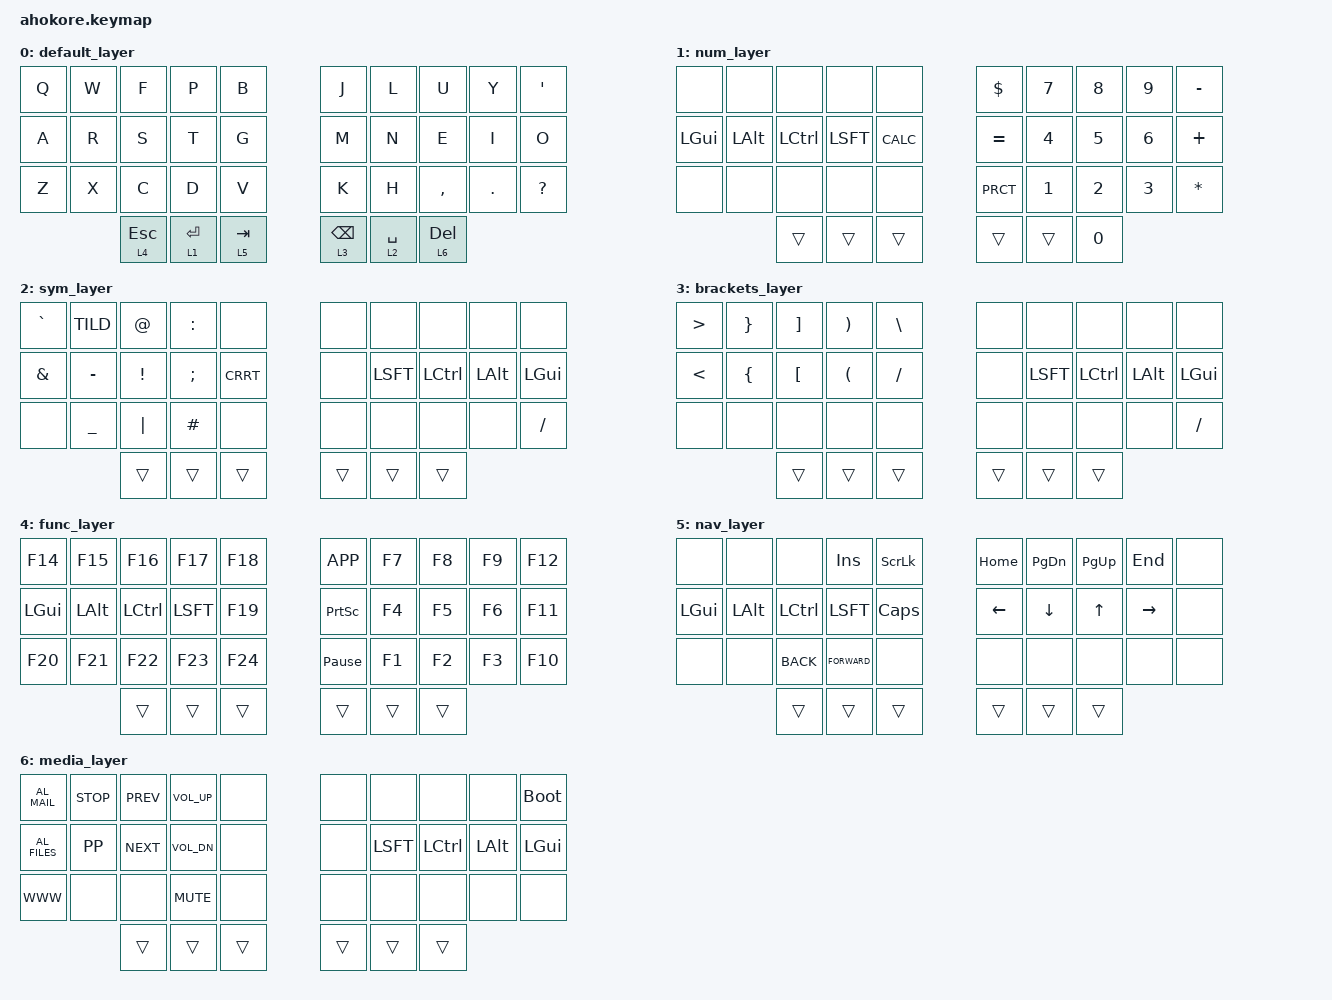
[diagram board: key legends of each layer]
/*
 * Copyright (c) 2020 The ZMK Contributors
 *
 * SPDX-License-Identifier: MIT
 */

#include <behaviors.dtsi>
#include <dt-bindings/zmk/keys.h>
#include <dt-bindings/zmk/bt.h>

/ {

/*
behaviors {
      hm: homerow_mods {
        compatible = "zmk,behavior-hold-tap";
        label = "HOMEROW_MODS";
        #binding-cells = <2>;
        tapping_term_ms = <300>;
        flavor = "tap-preferred";
        bindings = <&kp>, <&kp>;
    };

    combos {
    compatible = "zmk,combos";
    combo_del {
        timeout-ms = <50>;
        key-positions = <18 19>;
        bindings = <&kp DEL>;
        layers = <1>;
    };
    combo_bspc {
        timeout-ms = <50>;
        key-positions = <8 9>;
        bindings = <&kp BKSP>;
        layers = <0 1>;
    };
    combo_tab {
        timeout-ms = <50>;
        key-positions = <0 1>;
        bindings = <&kp TAB>;
        layers = <0>;

    };
    combo_esc {
        timeout-ms = <50>;
        key-positions = <1 2>;
        bindings = <&kp ESC>;
        layers = <0>;

    };
};
};
*/
/*
 * 1 - Numbers
 * 2 - Symbols
 * 3 - Brackets
 * 4 - Function
 * 5 - Nav
 * 6 - Media
*/
        keymap {
                compatible = "zmk,keymap";

                default_layer {
/* Colemak Mod-DH
 * ,-----------------------------------------------------------------------.
 * |   Q  |   W  |   F  |   P  |   B  | |   J  |   L  |   U  |   Y  |   '  |
 * |------+------+------+------+------+-+------+------+------+------+------|
 * |   A  |   R  |   S  |   T  |   G  | |   M  |   N  |   E  |   I  |   O  |
 * |------+------+------+------+------+-+------+------+------+------+------|
 * |   Z  |   X  |   C  |   D  |   V  | |   K  |   H  |   ,  |   .  |   ?  |
 * '-------------+------+------+------+-+------+------+------+-------------'
 *               | Esc  |Enter |Tab   | |Backsp|Space | Del  |
 *               `-------------------------------------------'
 * 
 *               ,-------------------------------------------.
 * while held    | Func |Number|Nav Ly| |Bracks|Symbol|Media |
 *               `-------------------------------------------'
 */
                        bindings = <
    &kp Q  &kp W  &kp F  &kp P  &kp B    &kp J  &kp L  &kp U    &kp Y   &kp APOS
	&kp A  &kp R  &kp S  &kp T  &kp G    &kp M  &kp N  &kp E    &kp I   &kp O
	&kp Z  &kp X  &kp C  &kp D  &kp V    &kp K  &kp H  &kp CMMA &kp DOT &kp QMARK
	&lt 4 ESC &lt 1 ENTER &lt 5 TAB &lt 3 BACKSPACE &lt 2 SPACE &lt 6 DEL
                        >;
                };

                num_layer {
/* Numbers
 * ,-----------------------------------------------------------------------.
 * | xxxx | xxxx | xxxx | xxxx | xxxx | |  $   |  7   |  8   |  9   |  -   |
 * |------+------+------+------+------+-+------+------+------+------+------|
 * |  GUI |  Alt | Ctrl |Shift | CALC | |  =   |  4   |  5   |  6   |  +   |
 * |------+------+------+------+------+-+------+------+------+------+------|
 * | xxxx | xxxx | xxxx | xxxx | xxxx | |  %   |  1   |  2   |  3   |  *   |
 * `-------------+------+------+------+-+------+------+------+-------------'
 *               |      |      |      | |      |      |  0   |
 *               `-------------------------------------------'
 */
                        bindings = <
    &none    &none    &none    &none    &none      &kp DLLR &kp N7 &kp N8 &kp N9 &kp MINUS
	&kp LGUI &kp LALT &kp LCTL &kp LSFT &kp K_CALC &kp EQL  &kp N4 &kp N5 &kp N6 &kp PLUS
	&none    &none    &none    &none    &none      &kp PRCT &kp N1 &kp N2 &kp N3 &kp STAR
			          &trans   &trans   &trans     &trans   &trans &kp N0
                        >;
                };
				
				sym_layer {
/* Symbols
 * ,-----------------------------------------------------------------------.
 * |  `   |  ~   |  @   |  :   | xxxx | | xxxx | xxxx | xxxx | xxxx | xxxx |
 * |------+------+------+------+------+-+------+------+------+------+------|
 * |  &   |  -   |  !   |  ;   |  ^   | | xxxx | Shift| Ctrl | Alt  | GUI  |
 * |------+------+------+------+------+-+------+------+------+------+------|
 * | xxxx |  _   |  |   |  #   | xxxx | | xxxx | xxxx | xxxx | xxxx |  /   |
 * `-------------+------+------+------+-+------+------+------+-------------'
 *               |      |      |      | |      |      |      |
 *               `-------------------------------------------'
 */
                         bindings = <
    &kp GRAV &kp TILD  &kp AT   &kp COLN &none    &none  &none    &none    &none    &none
	&kp AMPS &kp MINUS &kp EXCL &kp SEMI &kp CRRT &none  &kp LSFT &kp LCTL &kp LALT &kp LGUI
	&none    &kp UNDER &kp PIPE &kp HASH &none    &none  &none    &none    &none    &kp SLASH
			           &trans   &trans   &trans   &trans &trans   &trans
						 >;
				};
				
				brackets_layer {
 /* Brackets
 * ,-----------------------------------------------------------------------.
 * |   >  |   }  |   ]  |   )  |   \  | | xxxx | xxxx | xxxx | xxxx | xxxx |
 * |------+------+------+------+------+-+------+------+------+------+------|
 * |   <  |   {  |   [  |   (  |   /  | | xxxx | Shift| Ctrl | Alt  | GUI  |
 * |------+------+------+------+------+-+------+------+------+------+------|
 * | xxxx | xxxx | xxxx | xxxx | xxxx | | xxxx | xxxx | xxxx | xxxx |  /   |
 * `-------------+------+------+------+-+------+------+------+-------------'
 *               |      |      |      | |      |      |      |
 *               `-------------------------------------------'
 */
                         bindings = <
    &kp GT &kp RBRC &kp RBKT &kp RPAR &kp BSLH  &none  &none    &none    &none    &none  
	&kp LT &kp LBRC &kp LBKT &kp LPAR &kp FSLH  &none  &kp LSFT &kp LCTL &kp LALT &kp LGUI
	&none  &none    &none    &none    &none     &none  &none    &none    &none    &kp SLASH
			        &trans   &trans   &trans    &trans &trans   &trans
						 >;
				};
				
 				func_layer {
 /* Function Layer
 * ,-----------------------------------------------------------------------.
 * |  F14 |  F15 |  F16 |  F17 |  F18 | | App  |  F7  |  F8  |  F9  | F12  |
 * |------+------+------+------+------+-+------+------+------+------+------|
 * |  GUI |  Alt | Ctrl |Shift |  F19 | |Prt Sc|  F4  |  F5  |  F6  | F11  |
 * |------+------+------+------+------+-+------+------+------+------+------|
 * |  F20 |  F21 |  F22 |  F23 |  F24 | | Pause|  F1  |  F2  |  F3  | F10  |
 * `-------------+------+------+------+-+------+------+------+-------------'
 *               |      |      |      | |      |      |      |
 *               `-------------------------------------------'
 */
                         bindings = <
    &kp F14  &kp F15  &kp F16  &kp F17  &kp F18  &kp K_APP       &kp F7 &kp F8 &kp F9 &kp F12
	&kp LGUI &kp LALT &kp LCTL &kp LSFT &kp F19  &kp PRINTSCREEN &kp F4 &kp F5 &kp F6 &kp F11
	&kp F20  &kp F21  &kp F22  &kp F23  &kp F24  &kp PAUSE_BREAK &kp F1 &kp F2 &kp F3 &kp F10
			          &trans   &trans   &trans   &trans          &trans &trans
						 >;
				};
				
                nav_layer {
/* Navigation
 * ,-----------------------------------------------------------------------.
 * | xxxx | xxxx | xxxx |Insert|ScLock| | Home | PgDn | PgUp | End  | xxxx |
 * |------+------+------+------+------+-+------+------+------+------+------|
 * |  GUI |  Alt | Ctrl |Shift |Caps  | | Left | Down |  Up  |Right | xxxx |
 * |------+------+------+------+------+-+------+------+------+------+------|
 * | xxxx | xxxx |W Back|WebFwd| xxxx | |Scrl L|Scrl D|Scrl U|Scrl R| xxxx | - fix
 * `-------------+------+------+------+-+------+------+------+-------------'
 *               |      |      |      | |      |      |      |
 *               `-------------------------------------------'
 */
                        bindings = <
    &none    &none    &none      &kp INSERT    &kp SLCK &kp HOME &kp PG_DN &kp PG_UP &kp END   &none
	&kp LGUI &kp LALT &kp LCTL   &kp LSFT      &kp CAPS &kp LEFT &kp DOWN  &kp UP    &kp RIGHT &none
	&none    &none    &kp K_BACK &kp K_FORWARD &none    &none    &none     &none     &none     &none
			          &trans     &trans        &trans   &trans   &trans    &trans
                        >;
                };

				media_layer {
/* Media
 * ,-----------------------------------------------------------------------.
 * |Email | Stop | Prev |Vol Up| xxxx | | xxxx | xxxx | xxxx | xxxx |RESET |
 * |------+------+------+------+------+-+------+------+------+------+------|
 * |FileEx| Play | Next |Vol Dn| xxxx | | xxxx | Shift| Ctrl | Alt  | GUI  |
 * |------+------+------+------+------+-+------+------+------+------+------|
 * |Browsr| xxxx | xxxx | Mute | xxxx | | xxxx | xxxx | xxxx | xxxx | xxxx |
 * `-------------+------+------+------+-+------+------+------+-------------'
 *               |      |      |      | |      |      |      |
 *               `-------------------------------------------'
 */
                         bindings = <
    &kp C_AL_MAIL  &kp C_STOP &kp K_PREV &kp K_VOL_UP &none    &none  &none    &none    &none    &bootloader
	&kp C_AL_FILES &kp K_PP   &kp K_NEXT &kp K_VOL_DN &none    &none  &kp LSFT &kp LCTL &kp LALT &kp LGUI
	&kp K_WWW      &none      &none      &kp K_MUTE   &none    &none  &none    &none    &none    &none
			                  &trans     &trans       &trans   &trans &trans   &trans
						 >;
				};
				
/* Blank for copy
 * ,-----------------------------------------------------------------------.
 * |      |      |      |      |      | |      |      |      |      |      |
 * |------+------+------+------+------+-+------+------+------+------+------|
 * |      |      |      |      |      | |      |      |      |      |      |
 * |------+------+------+------+------+-+------+------+------+------+------|
 * |      |      |      |      |      | |      |      |      |      |      |
 * `-------------+------+------+------+-+------+------+------+-------------'
 *               |      |      |      | |      |      |      |
 *               `-------------------------------------------'
 */
/*                         bindings = <
    &kp    &kp    &kp    &kp    &kp      &kp    &kp    &kp    &kp    &kp
	&kp    &kp    &kp    &kp    &kp      &kp    &kp    &kp    &kp    &kp
	&kp    &kp    &kp    &kp    &kp      &kp    &kp    &kp    &kp    &kp
			      &kp    &kp    &kp      &kp    &kp    &kp
						 >;
*/
	
        };
};
